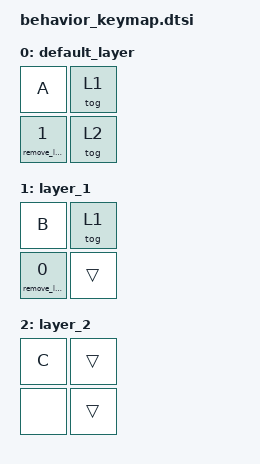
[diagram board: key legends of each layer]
#include <dt-bindings/zmk/keys.h>
#include <behaviors.dtsi>
#include <dt-bindings/zmk/kscan_mock.h>

/ {
    behaviors {
        remove_layer_behavior: remove_layer_behavior {
            compatible = "zmk,behavior-remove-layer";
            #binding-cells = <1>;
        };
    };

    keymap {
        compatible = "zmk,keymap";

        default_layer {
            bindings = <
                &kp A &tog 1
                &remove_layer_behavior 1 &tog 2>;
        };

        layer_1 {
            bindings = <
                &kp B &tog 1
                &remove_layer_behavior 0 &trans>;
        };

        layer_2 {
            bindings = <
                &kp C &trans
                &none &trans>;
        };
    };
};
